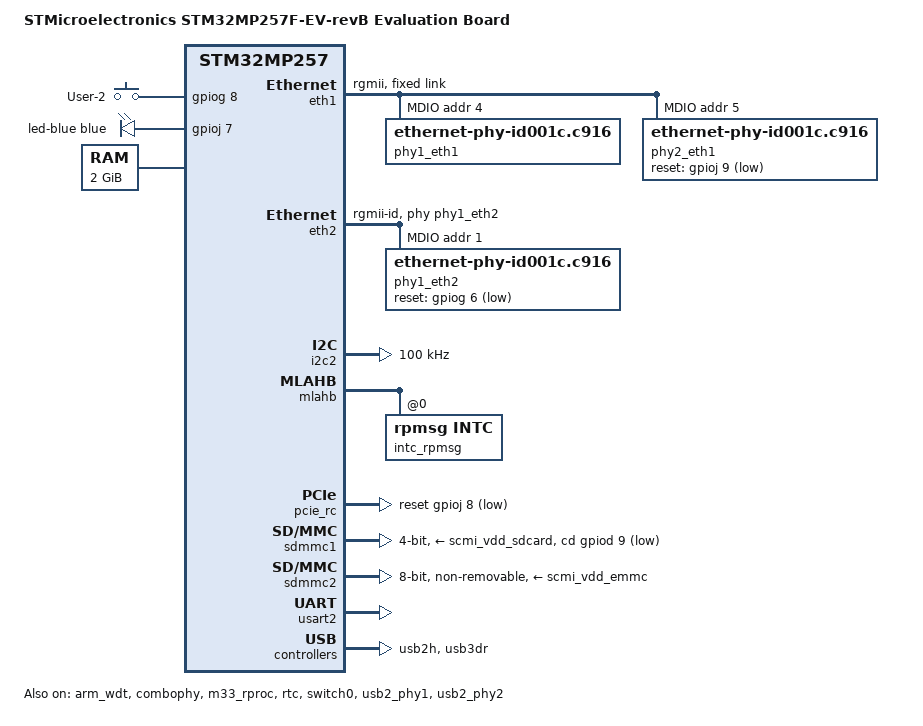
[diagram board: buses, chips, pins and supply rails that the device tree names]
// SPDX-License-Identifier: (GPL-2.0-or-later OR BSD-3-Clause)
/*
 * Copyright (C) STMicroelectronics 2023 - All Rights Reserved
 * Author: Alexandre Torgue <alexandre.torgue@foss.st.com> for STMicroelectronics.
 */

/dts-v1/;

#include <dt-bindings/gpio/gpio.h>
#include <dt-bindings/input/input.h>
#include <dt-bindings/leds/common.h>
#include <dt-bindings/regulator/st,stm32mp25-regulator.h>
#include "stm32mp25x-revA.dtsi"
#include "stm32mp25xf.dtsi"
#include "stm32mp25-pinctrl.dtsi"
#include "stm32mp25xxai-pinctrl.dtsi"
#include "stm32mp257f-ev-ca35tdcid-resmem.dtsi"

/ {
	model = "STMicroelectronics STM32MP257F-EV-revB Evaluation Board";
	compatible = "st,stm32mp257f-ev-revB", "st,stm32mp257-revA";

	aliases {
		ethernet0 = &eth2;
		ethernet1 = &eth1;
		serial0 = &usart2;
		serial1 = &usart6;
	};

	chosen {
		stdout-path = "serial0:115200n8";
	};

	clocks {
		pad_clk: pad-clk {
			#clock-cells = <0>;
			compatible = "fixed-clock";
			clock-frequency = <100000000>;
		};
	};

	gpio-keys {
		compatible = "gpio-keys";

		button-user-2 {
			label = "User-2";
			linux,code = <BTN_2>;
			gpios = <&gpiog 8 GPIO_ACTIVE_HIGH>;
			status = "okay";
		};
	};

	gpio-leds {
		compatible = "gpio-leds";

		led-blue {
			function = LED_FUNCTION_HEARTBEAT;
			color = <LED_COLOR_ID_BLUE>;
			gpios = <&gpioj 7 GPIO_ACTIVE_HIGH>;
			linux,default-trigger = "heartbeat";
			default-state = "off";
		};
	};

	memory@80000000 {
		device_type = "memory";
		reg = <0x0 0x80000000 0x0 0x80000000>;
	};
};

&arm_wdt {
	timeout-sec = <32>;
	status = "okay";
};

&combophy {
	clocks = <&rcc CK_BUS_USB3PCIEPHY>, <&rcc CK_KER_USB3PCIEPHY>, <&pad_clk>;
	clock-names = "apb-clk", "ker-clk", "pad-clk";
	status = "okay";
};

&eth1 {
	status = "okay";
	pinctrl-0 = <&eth1_mdio_pins_a>;
	pinctrl-names = "default";
	phy-mode = "rgmii";
	max-speed = <1000>;
	st,eth-clk-sel;

	fixed_link: fixed-link {
		speed = <1000>;
		full-duplex;
	};

	mdio1 {
		#address-cells = <1>;
		#size-cells = <0>;
		compatible = "snps,dwmac-mdio";

		phy1_eth1: ethernet-phy@4 {
			compatible = "ethernet-phy-id001c.c916",
				     "ethernet-phy-ieee802.3-c22";
			realtek,eee-disable;
			reg = <4>;
		};

		phy2_eth1: ethernet-phy@5 {
			compatible = "ethernet-phy-id001c.c916",
				     "ethernet-phy-ieee802.3-c22";
			reset-gpios =  <&gpioj 9 GPIO_ACTIVE_LOW>;
			reset-assert-us = <10000>;
			reset-deassert-us = <300>;
			realtek,eee-disable;
			reg = <5>;
		};
	};
};

&eth2 {
	status = "okay";
	pinctrl-0 = <&eth2_rgmii_pins_a>;
	pinctrl-names = "default";
	phy-mode = "rgmii-id";
	max-speed = <1000>;
	phy-handle = <&phy1_eth2>;
	st,eth-ptp-from-rcc;

	mdio1 {
		#address-cells = <1>;
		#size-cells = <0>;
		compatible = "snps,dwmac-mdio";
		phy1_eth2: ethernet-phy@1 {
			compatible = "ethernet-phy-id001c.c916";
			reset-gpios =  <&gpiog 6 GPIO_ACTIVE_LOW>;
			reset-assert-us = <10000>;
			reset-deassert-us = <300>;
			realtek,eee-disable;
			reg = <1>;
		};
	};
};

&hpdma {
	st,burstlen = <32>;
};

&hpdma2 {
	st,burstlen = <32>;
};

&hpdma3 {
	st,burstlen = <32>;
};

&i2c2 {
	pinctrl-names = "default", "sleep";
	pinctrl-0 = <&i2c2_pins_a>;
	pinctrl-1 = <&i2c2_sleep_pins_a>;
	i2c-scl-rising-time-ns = <185>;
	i2c-scl-falling-time-ns = <20>;
	clock-frequency = <100000>;
	status = "okay";
	/* spare dmas for other usage */
	/delete-property/dmas;
	/delete-property/dma-names;
};

&ipcc1 {
	status = "okay";
};

&m33_rproc {
	mboxes = <&ipcc1 0x100>, <&ipcc1 0x101>, <&ipcc1 2>;
	mbox-names = "vq0", "vq1", "shutdown";
	memory-region = <&ipc_shmem_1>, <&vdev0vring0>,
			<&vdev0vring1>, <&vdev0buffer>;
	status = "okay";
};

&mlahb {
	intc_rpmsg: interrupt-controller@0 {
		compatible = "rpmsg,intc";
		reg = <0 0>;
		#interrupt-cells = <1>;
		interrupt-controller;
	};
};

&pcie_rc {
	pinctrl-names = "default", "init";
	pinctrl-0 = <&pcie_pins_a>;
	pinctrl-1 = <&pcie_init_pins_a>;
	reset-gpios = <&gpioj 8 GPIO_ACTIVE_LOW>;
	max-link-speed = <1>;
	max-payload-size = <128>;
	max-readreq-size = <128>;
	status = "okay";
};

&rtc {
	status = "okay";
};

&scmi_regu {
	scmi_v3v3: voltd-v3v3 {
		reg = <VOLTD_SCMI_STPMIC2_BUCK7>;
		regulator-name = "v3v3";
	};
	scmi_vdd_emmc: voltd-vdd-emmc {
		reg = <VOLTD_SCMI_STPMIC2_LDO2>;
		regulator-name = "vdd_emmc";
	};
	scmi_vdd_sdcard: voltd-vdd-sdcard {
		reg = <VOLTD_SCMI_STPMIC2_LDO7>;
		regulator-name = "vdd_sdcard";
	};
	scmi_vddio1: voltd-vddio1 {
		regulator-min-microvolt = <1800000>;
		regulator-max-microvolt = <3300000>;
	};
};

&sdmmc1 {
	pinctrl-names = "default", "opendrain", "sleep";
	pinctrl-0 = <&sdmmc1_b4_pins_a>;
	pinctrl-1 = <&sdmmc1_b4_od_pins_a>;
	pinctrl-2 = <&sdmmc1_b4_sleep_pins_a>;
	cd-gpios = <&gpiod 9 (GPIO_ACTIVE_LOW | GPIO_PULL_UP)>;
	disable-wp;
	st,neg-edge;
	bus-width = <4>;
	vmmc-supply = <&scmi_vdd_sdcard>;
	vqmmc-supply = <&scmi_vddio1>;
	status = "okay";
};

&sdmmc2 {
	pinctrl-names = "default", "opendrain", "sleep";
	pinctrl-0 = <&sdmmc2_b4_pins_a &sdmmc2_d47_pins_a>;
	pinctrl-1 = <&sdmmc2_b4_od_pins_a &sdmmc2_d47_pins_a>;
	pinctrl-2 = <&sdmmc2_b4_sleep_pins_a &sdmmc2_d47_sleep_pins_a>;
	non-removable;
	no-sd;
	no-sdio;
	st,neg-edge;
	bus-width = <8>;
	vmmc-supply = <&scmi_vdd_emmc>;
	vqmmc-supply = <&scmi_vddio2>;
	mmc-ddr-1_8v;
	mmc-hs200-1_8v;
	status = "okay";
};

&sdmmc3 {
	pinctrl-names = "default", "opendrain", "sleep";
	pinctrl-0 = <&sdmmc3_b4_pins_a>;
	pinctrl-1 = <&sdmmc3_b4_od_pins_a>;
	pinctrl-2 = <&sdmmc3_b4_sleep_pins_a>;
	broken-cd;
	disable-wp;
	st,neg-edge;
	bus-width = <4>;
	vmmc-supply = <&scmi_v3v3>;
	status = "disabled";
};

&spi3 {
	pinctrl-names = "default", "sleep";
	pinctrl-0 = <&spi3_pins_a>;
	pinctrl-1 = <&spi3_sleep_pins_a>;
	status = "disabled";
};

&spi8 {
	pinctrl-names = "default", "sleep";
	pinctrl-0 = <&spi8_pins_a>;
	pinctrl-1 = <&spi8_sleep_pins_a>;
	status = "disabled";
};

&switch0 {
	status = "okay";
	pinctrl-0 = <&eth1_rgmii_pins_a>, <&eth3_rgmii_pins_a>;
	pinctrl-names = "default";
	phy-mode = "rgmii";
	st,ethsw-internal-125;
};

&usart2 {
	pinctrl-names = "default", "idle", "sleep";
	pinctrl-0 = <&usart2_pins_a>;
	pinctrl-1 = <&usart2_idle_pins_a>;
	pinctrl-2 = <&usart2_sleep_pins_a>;
	/delete-property/dmas;
	/delete-property/dma-names;
	status = "okay";
};

&usart6 {
	pinctrl-names = "default", "idle", "sleep";
	pinctrl-0 = <&usart6_pins_a>;
	pinctrl-1 = <&usart6_idle_pins_a>;
	pinctrl-2 = <&usart6_sleep_pins_a>;
	uart-has-rtscts;
	status = "disabled";
};

&usb2_phy1 {
	status = "okay";
};

&usb2_phy2 {
	status = "okay";
};

&usb2h {
	status = "okay";

	usb2h_ohci: usb@482e0000 {
		status = "disabled";
	};
};

&usb3dr {
	status = "okay";

	dwc3: usb@48300000 {
		maximum-speed = "high-speed";
		dr_mode = "peripheral";
		snps,incr-burst-type-adjustment = <4>;
	};
};
